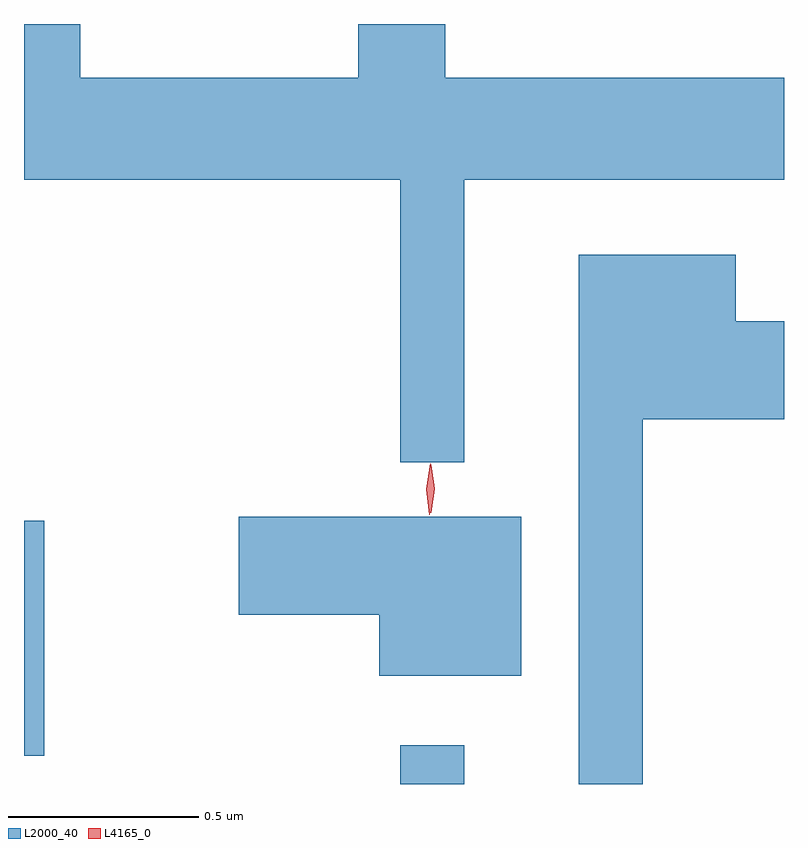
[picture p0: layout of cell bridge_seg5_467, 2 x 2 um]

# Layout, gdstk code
import gdstk
lib = gdstk.Library(unit=1e-6, precision=1e-09)
def R(c, l, rs):  # rectangles x0, y0, x1, y1
    for r in rs: c.add(gdstk.rectangle(r[:2], r[2:], *l))
def P(c, l, *ps):  # polygons
    for p in ps: c.add(gdstk.Polygon(p, *l))
L2000_40 = (2000, 40)
L4165_0 = (4165, 0)

bridge_seg5_467 = lib.new_cell('bridge_seg5_467')
R(bridge_seg5_467, L2000_40, [(308.961,1508.486,309.129,1508.588), (307.971,1508.561,308.024,1509.179)])
P(bridge_seg5_467, L2000_40, [(309.129,1510.076),(309.971,1510.076),(309.971,1510.344),(309.079,1510.344),(309.079,1510.486),(308.851,1510.486),(308.851,1510.344),(308.119,1510.344),(308.119,1510.486),(307.971,1510.486),(307.971,1510.076),(308.961,1510.076),(308.961,1509.333),(309.129,1509.333)],
  [(309.599,1509.446),(309.971,1509.446),(309.971,1509.704),(309.844,1509.704),(309.844,1509.879),(309.431,1509.879),(309.431,1508.486),(309.599,1508.486)],
  [(309.279,1509.189),(308.536,1509.189),(308.536,1508.931),(308.906,1508.931),(308.906,1508.771),(309.279,1508.771)])
P(bridge_seg5_467, L4165_0, [(309.042,1509.2),(309.042,1509.2),(309.032,1509.263),(309.042,1509.326),(309.042,1509.327),(309.043,1509.326),(309.052,1509.263),(309.043,1509.2)],
  [(309.038,1509.194),(309.038,1509.194),(309.029,1509.262),(309.04,1509.33),(309.04,1509.33),(309.04,1509.33),(309.049,1509.262),(309.039,1509.194)])

lib.write_gds('bridge_seg5_467.gds')
